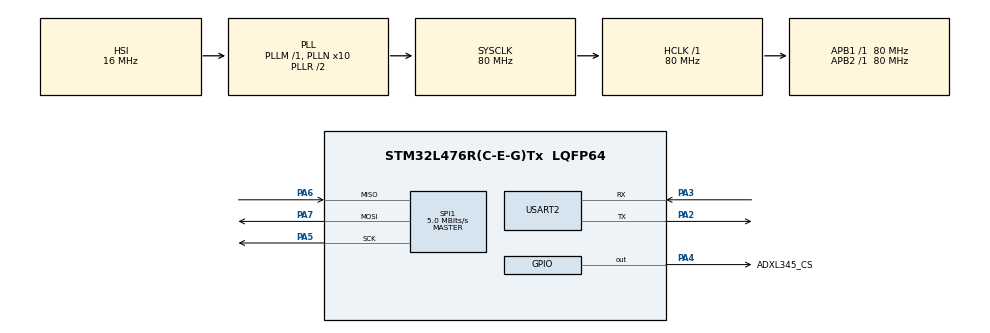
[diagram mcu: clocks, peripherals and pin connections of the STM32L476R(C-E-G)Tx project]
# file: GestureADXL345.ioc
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Mcu.Family=STM32L4
Mcu.Name=STM32L476R(C-E-G)Tx
Mcu.Package=LQFP64
NVIC.PriorityGroup=NVIC_PRIORITYGROUP_4
PA2.Mode=Asynchronous
PA2.Signal=USART2_TX
PA3.Mode=Asynchronous
PA3.Signal=USART2_RX
PA4.GPIO_Label=ADXL345_CS
PA4.Signal=GPIO_Output
PA5.Mode=Full_Duplex_Master
PA5.Signal=SPI1_SCK
PA6.Mode=Full_Duplex_Master
PA6.Signal=SPI1_MISO
PA7.Mode=Full_Duplex_Master
PA7.Signal=SPI1_MOSI
ProjectManager.HeapSize=0x8000
ProjectManager.StackSize=0x8000
ProjectManager.TargetToolchain=STM32CubeIDE
RCC.ADCFreq_Value=64000000
RCC.AHBFreq_Value=80000000
RCC.APB1Freq_Value=80000000
RCC.APB1TimFreq_Value=80000000
RCC.APB2Freq_Value=80000000
RCC.APB2TimFreq_Value=80000000
RCC.CortexFreq_Value=80000000
RCC.HCLKFreq_Value=80000000
RCC.HSE_VALUE=8000000
RCC.HSI_VALUE=16000000
RCC.LSE_VALUE=32768
RCC.MSI_VALUE=4000000
RCC.PLLN=10
RCC.PLLR=2
RCC.PLLSourceVirtual=RCC_PLLSOURCE_HSI
RCC.PREFETCH_ENABLE=1
RCC.SYSCLKFreq_VALUE=80000000
RCC.SYSCLKSource=RCC_SYSCLKSOURCE_PLLCLK
RCC.USBFreq_Value=64000000
RCC.VCOOutputFreq_Value=160000000
SPI1.BaudRatePrescaler=SPI_BAUDRATEPRESCALER_16
SPI1.CLKPhase=SPI_PHASE_2EDGE
SPI1.CLKPolarity=SPI_POLARITY_HIGH
SPI1.CalculateBaudRate=5.0 MBits/s
SPI1.DataSize=SPI_DATASIZE_8BIT
SPI1.Direction=SPI_DIRECTION_2LINES
SPI1.Mode=SPI_MODE_MASTER
SPI1.VirtualType=VM_MASTER
STMicroelectronics.X-CUBE-AI.10.1.0.ActivationBufferSizeList=12032
STMicroelectronics.X-CUBE-AI.10.1.0.ActivationBuffers=pool0
STMicroelectronics.X-CUBE-AI.10.1.0.ActivationNames=pool0
STMicroelectronics.X-CUBE-AI.10.1.0.ActivationSizes=AI_AI_MODEL_DATA_ACTIVATION_1_SIZE
STMicroelectronics.X-CUBE-AI.10.1.0.HeapSize=0x8000
STMicroelectronics.X-CUBE-AI.10.1.0.InternalRamActivationBufferMaxSize=AI_AI_MODEL_DATA_ACTIVATIONS_SIZE
STMicroelectronics.X-CUBE-AI.10.1.0.LatestDirectoryUsed-d21d692c1818642456d28aece989a52511c7e8e1d7e6b5068b9661834225037f=C\:\\Users\\Dominik\\Documents\\Domin\\Programowanie\\Projekty\\Gesture Detection\\Gesture Detection Program
STMicroelectronics.X-CUBE-AI.10.1.0.MaximumNumberOfInputLayer=1
STMicroelectronics.X-CUBE-AI.10.1.0.MaximumNumberOfOutputLayer=1
STMicroelectronics.X-CUBE-AI.10.1.0.MaximumSizeOfInputLayer=1
STMicroelectronics.X-CUBE-AI.10.1.0.MaximumSizeOfOutputLayer=1
STMicroelectronics.X-CUBE-AI.10.1.0.ModelActualCompression-d21d692c1818642456d28aece989a52511c7e8e1d7e6b5068b9661834225037f=0.0
STMicroelectronics.X-CUBE-AI.10.1.0.ModelCompression-d21d692c1818642456d28aece989a52511c7e8e1d7e6b5068b9661834225037f=None
STMicroelectronics.X-CUBE-AI.10.1.0.ModelFlashOccupation-d21d692c1818642456d28aece989a52511c7e8e1d7e6b5068b9661834225037f=469836
STMicroelectronics.X-CUBE-AI.10.1.0.ModelHashList=d21d692c1818642456d28aece989a52511c7e8e1d7e6b5068b9661834225037f
STMicroelectronics.X-CUBE-AI.10.1.0.ModelKind-d21d692c1818642456d28aece989a52511c7e8e1d7e6b5068b9661834225037f=ONNX
STMicroelectronics.X-CUBE-AI.10.1.0.ModelMacc-d21d692c1818642456d28aece989a52511c7e8e1d7e6b5068b9661834225037f=858592
STMicroelectronics.X-CUBE-AI.10.1.0.ModelName-d21d692c1818642456d28aece989a52511c7e8e1d7e6b5068b9661834225037f=ai_model
STMicroelectronics.X-CUBE-AI.10.1.0.ModelNameList=ai_model
STMicroelectronics.X-CUBE-AI.10.1.0.ModelRamOccupation-d21d692c1818642456d28aece989a52511c7e8e1d7e6b5068b9661834225037f=12032
STMicroelectronics.X-CUBE-AI.10.1.0.ModelStructureFile-d21d692c1818642456d28aece989a52511c7e8e1d7e6b5068b9661834225037f=C\:\\Users\\Dominik\\Documents\\Domin\\Programowanie\\Projekty\\Gesture Detection\\Gesture Detection Program\\gesture_model.onnx
STMicroelectronics.X-CUBE-AI.10.1.0.ModelType-d21d692c1818642456d28aece989a52511c7e8e1d7e6b5068b9661834225037f=STM32Cube.AI MCU runtime
STMicroelectronics.X-CUBE-AI.10.1.0.ReadyForCodeGeneration=true
STMicroelectronics.X-CUBE-AI.10.1.0.StackSize=0x8000
STMicroelectronics.X-CUBE-AI.10.1.0.WorkingBufferStartAddrList=0xFFFFFFFF
STMicroelectronics.X-CUBE-AI.10.1.0.XAaCUBEAaAICcArtificialOoIntelligenceJjCore=true
STMicroelectronics.X-CUBE-AI.10.1.0.copyWeightToRam=false
STMicroelectronics.X-CUBE-AI.10.1.0.copyWeightToRam-d21d692c1818642456d28aece989a52511c7e8e1d7e6b5068b9661834225037f=false
STMicroelectronics.X-CUBE-AI.10.1.0.customLayerConfigEnabled=false
STMicroelectronics.X-CUBE-AI.10.1.0.customLayerConfigEnabled-d21d692c1818642456d28aece989a52511c7e8e1d7e6b5068b9661834225037f=false
STMicroelectronics.X-CUBE-AI.10.1.0.noOnnxIoTranspose=false
STMicroelectronics.X-CUBE-AI.10.1.0.noOnnxIoTranspose-d21d692c1818642456d28aece989a52511c7e8e1d7e6b5068b9661834225037f=false
STMicroelectronics.X-CUBE-AI.10.1.0.useInputAllocation=true
STMicroelectronics.X-CUBE-AI.10.1.0.useInputAllocation-d21d692c1818642456d28aece989a52511c7e8e1d7e6b5068b9661834225037f=true
STMicroelectronics.X-CUBE-AI.10.1.0.useOutputAllocation=true
STMicroelectronics.X-CUBE-AI.10.1.0.useOutputAllocation-d21d692c1818642456d28aece989a52511c7e8e1d7e6b5068b9661834225037f=true
USART2.VirtualMode-Asynchronous=VM_ASYNC
VP_CRC_VS_CRC.Mode=CRC_Activate
VP_STMicroelectronics.X-CUBE-AI_VS_ArtificialOoIntelligenceJjXAaCUBEAaAI_10.1.0.Mode=ArtificialOoIntelligenceJjXAaCUBEAaAI
board=custom

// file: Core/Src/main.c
/* USER CODE BEGIN Header */
/**
  ******************************************************************************
  * @file           : main.c
  * @brief          : Main program body
  ******************************************************************************
  * @attention
  *
  * Copyright (c) 2025 STMicroelectronics.
  * All rights reserved.
  *
  * This software is licensed under terms that can be found in the LICENSE file
  * in the root directory of this software component.
  * If no LICENSE file comes with this software, it is provided AS-IS.
  *
  ******************************************************************************
  */
/* USER CODE END Header */
#include "main.h"

/* USER CODE BEGIN Includes */
#include <string.h>
#include <stdio.h>
#include <stdbool.h>
#include "adxl345.h"
#include "ai_model.h"
#include "ai_model_data.h"
#include "ai_model_data_params.h"
#include <math.h>

/* USER CODE END Includes */

CRC_HandleTypeDef hcrc;

SPI_HandleTypeDef hspi1;

UART_HandleTypeDef huart2;

/* USER CODE BEGIN PV */
/* USER CODE BEGIN PV */
static ai_handle network = AI_HANDLE_NULL;
AI_ALIGNED(4) static uint8_t activations[AI_AI_MODEL_DATA_ACTIVATIONS_SIZE];
static float input_data[AI_AI_MODEL_IN_1_SIZE];
static ai_buffer in_tensor[AI_AI_MODEL_IN_NUM];
static ai_buffer out_tensor[AI_AI_MODEL_OUT_NUM];
/* USER CODE END PV */

/* USER CODE END PV */

void SystemClock_Config(void);
static void MX_GPIO_Init(void);
static void MX_CRC_Init(void);
static void MX_SPI1_Init(void);

/* USER CODE BEGIN 0 */
int _write(int file, char *ptr, int len)
{
    (void)file;
    HAL_UART_Transmit(&huart2, (uint8_t*)ptr, len, HAL_MAX_DELAY);
    return len;
}

void softmax(float *input, int size) {
    float max_val = input[0];
    for(int i = 1; i < size; i++) {
        if(input[i] > max_val) max_val = input[i];
    }

    float sum = 0.0f;
    for(int i = 0; i < size; i++) {
        input[i] = expf(input[i] - max_val);
        sum += input[i];
    }

    for(int i = 0; i < size; i++) {
        input[i] /= sum;
    }
}

/* USER CODE END 0 */

int main(void)
{

  /* MCU Configuration--------------------------------------------------------*/

  /* Reset of all peripherals, Initializes the Flash interface and the Systick. */
  HAL_Init();

  /* Configure the system clock */
  SystemClock_Config();

  /* Initialize all configured peripherals */
  MX_GPIO_Init();
  MX_USART2_UART_Init();
  MX_SPI1_Init();
  MX_CRC_Init();

  /* USER CODE BEGIN 2 */
  ADXL345_Init(&hspi1);

      ai_error err = ai_ai_model_create_and_init(
          &network,
          AI_AI_MODEL_DATA_ACTIVATIONS_TABLE_GET(),
          AI_AI_MODEL_DATA_WEIGHTS_TABLE_GET()
      );

      if (err.type != AI_ERROR_NONE) {
          printf("AI Model Init FAILED! type=%d code=%d\r\n",
                 (int)err.type, (int)err.code);
          Error_Handler();
      }

      ai_buffer* ai_input = ai_ai_model_inputs_get(network, NULL);
      ai_buffer* ai_output = ai_ai_model_outputs_get(network, NULL);

      in_tensor[0] = ai_input[0];
      in_tensor[0].data = AI_HANDLE_PTR(input_data);

      out_tensor[0] = ai_output[0];

      printf("Setup complete. Starting gesture recognition...\r\n");

  /* USER CODE END 2 */

  /* Infinite loop */
  /* USER CODE BEGIN WHILE */
  while (1)
  {
	  printf("Collecting samples...\r\n");

	         for (int i = 0; i < 80; i++) {
	             float x, y, z;
	             ADXL345_GetXYZ(&hspi1, &x, &y, &z);

	             normalizeAccelData(&x, &y, &z);

	             // Check for traffic
	             float magnitude = calculateMagnitude(x, y, z);
	             if (magnitude < 0.3f) {  // Traffic threshold

	                 i--;
	                 HAL_Delay(10);
	                 continue;
	             }

	             input_data[i * 3 + 0] = x;
	             input_data[i * 3 + 1] = y;
	             input_data[i * 3 + 2] = z;

	             HAL_Delay(20);
	         }

	         printf("Running inference...\r\n");

	         ai_i32 batch = ai_ai_model_run(network, in_tensor, out_tensor);
	         if (batch != 1) {
	             printf("AI inference failed\r\n");
	             continue;
	         }

	         softmax((float*)out_tensor[0].data, 8);

	         printf("Results: ");
	         for (int i = 0; i < 8; i++) {
	             printf("%.3f ", ((float*)out_tensor[0].data)[i]);
	         }
	         printf("\r\n");

	         float max_confidence = 0.0f;
	         int predicted_class = 0;
	         for (int i = 0; i < 8; i++) {
	             if (((float*)out_tensor[0].data)[i] > max_confidence) {
	                 max_confidence = ((float*)out_tensor[0].data)[i];
	                 predicted_class = i;
	             }
	         }

	         if (max_confidence < 0.6f) {
	             printf("Uncertain gesture (confidence: %.2f)\r\n", max_confidence);
	             continue;
	         }

	         const char *gestures[] = {
	             "Swipe-Right", "Swipe-Left", "Up", "Down",
	             "Circle-Clockwise", "Circle-Counterclockwise", "Z-letter", "V-letter"
	         };

	         printf("Detected: %s (confidence: %.2f%%)\r\n",
	                gestures[predicted_class], max_confidence * 100.0f);
	         printf("---\r\n");
	         HAL_Delay(2000);

    /* USER CODE END WHILE */

  }
}

void SystemClock_Config(void)
{
  RCC_OscInitTypeDef RCC_OscInitStruct = {0};
  RCC_ClkInitTypeDef RCC_ClkInitStruct = {0};

  /** Configure the main internal regulator output voltage
  */
  if (HAL_PWREx_ControlVoltageScaling(PWR_REGULATOR_VOLTAGE_SCALE1) != HAL_OK)
  {
    Error_Handler();
  }

  /** Initializes the RCC Oscillators according to the specified parameters
  * in the RCC_OscInitTypeDef structure.
  */
  RCC_OscInitStruct.OscillatorType = RCC_OSCILLATORTYPE_HSI;
  RCC_OscInitStruct.HSIState = RCC_HSI_ON;
  RCC_OscInitStruct.HSICalibrationValue = RCC_HSICALIBRATION_DEFAULT;
  RCC_OscInitStruct.PLL.PLLState = RCC_PLL_ON;
  RCC_OscInitStruct.PLL.PLLSource = RCC_PLLSOURCE_HSI;
  RCC_OscInitStruct.PLL.PLLM = 1;
  RCC_OscInitStruct.PLL.PLLN = 10;
  RCC_OscInitStruct.PLL.PLLP = RCC_PLLP_DIV7;
  RCC_OscInitStruct.PLL.PLLQ = RCC_PLLQ_DIV2;
  RCC_OscInitStruct.PLL.PLLR = 2;
  if (HAL_RCC_OscConfig(&RCC_OscInitStruct) != HAL_OK)
  {
    Error_Handler();
  }

  /** Initializes the CPU, AHB and APB buses clocks
  */
  RCC_ClkInitStruct.ClockType = RCC_CLOCKTYPE_HCLK|RCC_CLOCKTYPE_SYSCLK
                              |RCC_CLOCKTYPE_PCLK1|RCC_CLOCKTYPE_PCLK2;
  RCC_ClkInitStruct.SYSCLKSource = RCC_SYSCLKSOURCE_PLLCLK;
  RCC_ClkInitStruct.AHBCLKDivider = RCC_SYSCLK_DIV1;
  RCC_ClkInitStruct.APB1CLKDivider = RCC_HCLK_DIV1;
  RCC_ClkInitStruct.APB2CLKDivider = RCC_HCLK_DIV1;

  if (HAL_RCC_ClockConfig(&RCC_ClkInitStruct, FLASH_LATENCY_4) != HAL_OK)
  {
    Error_Handler();
  }
}

static void MX_CRC_Init(void)
{

  hcrc.Instance = CRC;
  hcrc.Init.DefaultPolynomialUse = DEFAULT_POLYNOMIAL_ENABLE;
  hcrc.Init.DefaultInitValueUse = DEFAULT_INIT_VALUE_ENABLE;
  hcrc.Init.InputDataInversionMode = CRC_INPUTDATA_INVERSION_NONE;
  hcrc.Init.OutputDataInversionMode = CRC_OUTPUTDATA_INVERSION_DISABLE;
  hcrc.InputDataFormat = CRC_INPUTDATA_FORMAT_BYTES;
  if (HAL_CRC_Init(&hcrc) != HAL_OK)
  {
    Error_Handler();
  }

}

static void MX_SPI1_Init(void)
{

  /* SPI1 parameter configuration*/
  hspi1.Instance = SPI1;
  hspi1.Init.Mode = SPI_MODE_MASTER;
  hspi1.Init.Direction = SPI_DIRECTION_2LINES;
  hspi1.Init.DataSize = SPI_DATASIZE_8BIT;
  hspi1.Init.CLKPolarity = SPI_POLARITY_HIGH;
  hspi1.Init.CLKPhase = SPI_PHASE_2EDGE;
  hspi1.Init.NSS = SPI_NSS_SOFT;
  hspi1.Init.BaudRatePrescaler = SPI_BAUDRATEPRESCALER_16;
  hspi1.Init.FirstBit = SPI_FIRSTBIT_MSB;
  hspi1.Init.TIMode = SPI_TIMODE_DISABLE;
  hspi1.Init.CRCCalculation = SPI_CRCCALCULATION_DISABLE;
  hspi1.Init.CRCPolynomial = 7;
  hspi1.Init.CRCLength = SPI_CRC_LENGTH_DATASIZE;
  hspi1.Init.NSSPMode = SPI_NSS_PULSE_DISABLE;
  if (HAL_SPI_Init(&hspi1) != HAL_OK)
  {
    Error_Handler();
  }

}

void MX_USART2_UART_Init(void)
{

  huart2.Instance = USART2;
  huart2.Init.BaudRate = 115200;
  huart2.Init.WordLength = UART_WORDLENGTH_8B;
  huart2.Init.StopBits = UART_STOPBITS_1;
  huart2.Init.Parity = UART_PARITY_NONE;
  huart2.Init.Mode = UART_MODE_TX_RX;
  huart2.Init.HwFlowCtl = UART_HWCONTROL_NONE;
  huart2.Init.OverSampling = UART_OVERSAMPLING_16;
  huart2.Init.OneBitSampling = UART_ONE_BIT_SAMPLE_DISABLE;
  huart2.AdvancedInit.AdvFeatureInit = UART_ADVFEATURE_NO_INIT;
  if (HAL_UART_Init(&huart2) != HAL_OK)
  {
    Error_Handler();
  }

}

static void MX_GPIO_Init(void)
{
  GPIO_InitTypeDef GPIO_InitStruct = {0};

  /* GPIO Ports Clock Enable */
  __HAL_RCC_GPIOA_CLK_ENABLE();

  /*Configure GPIO pin Output Level */
  HAL_GPIO_WritePin(ADXL345_CS_GPIO_Port, ADXL345_CS_Pin, GPIO_PIN_RESET);

  /*Configure GPIO pin : ADXL345_CS_Pin */
  GPIO_InitStruct.Pin = ADXL345_CS_Pin;
  GPIO_InitStruct.Mode = GPIO_MODE_OUTPUT_PP;
  GPIO_InitStruct.Pull = GPIO_NOPULL;
  GPIO_InitStruct.Speed = GPIO_SPEED_FREQ_LOW;
  HAL_GPIO_Init(ADXL345_CS_GPIO_Port, &GPIO_InitStruct);

}

void Error_Handler(void)
{
  __disable_irq();
  while (1)
  {
  }
}
